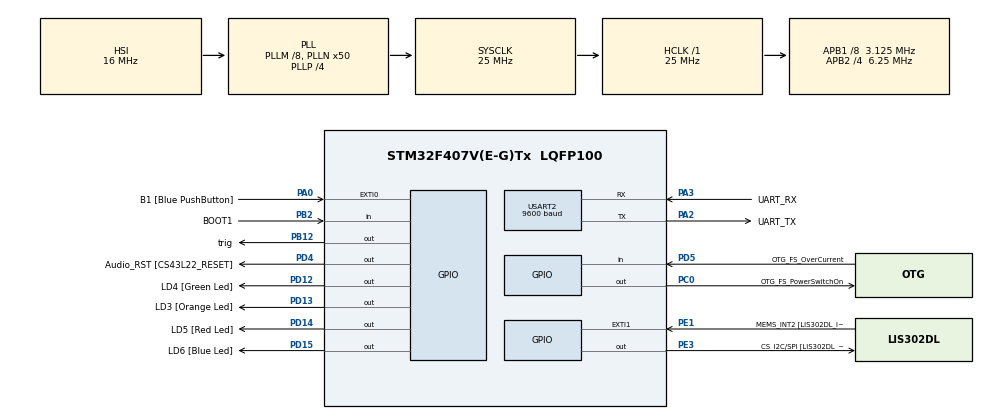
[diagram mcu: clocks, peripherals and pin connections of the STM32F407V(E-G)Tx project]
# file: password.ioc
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Mcu.Family=STM32F4
Mcu.Name=STM32F407V(E-G)Tx
Mcu.Package=LQFP100
NVIC.PriorityGroup=NVIC_PRIORITYGROUP_0
NVIC.TIM3_IRQn=true\:0\:0\:false\:false\:true
NVIC.USART2_IRQn=true\:0\:0\:false\:false\:true
PA0-WKUP.GPIO_Label=B1 [Blue PushButton]
PA0-WKUP.GPIO_ModeDefaultEXTI=GPIO_MODE_EVT_RISING
PA0-WKUP.GPIO_PuPd=GPIO_NOPULL
PA0-WKUP.Signal=GPXTI0
PA10.GPIO_Label=OTG_FS_ID
PA10.GPIO_Mode=GPIO_MODE_AF_PP
PA10.GPIO_PuPd=GPIO_NOPULL
PA10.GPIO_Speed=GPIO_SPEED_FREQ_LOW
PA10.Signal=USB_OTG_FS_ID
PA11.GPIO_Label=OTG_FS_DM
PA11.GPIO_Mode=GPIO_MODE_AF_PP
PA11.GPIO_PuPd=GPIO_NOPULL
PA11.GPIO_Speed=GPIO_SPEED_FREQ_LOW
PA11.Signal=USB_OTG_FS_DM
PA12.GPIO_Label=OTG_FS_DP
PA12.GPIO_Mode=GPIO_MODE_AF_PP
PA12.GPIO_PuPd=GPIO_NOPULL
PA12.GPIO_Speed=GPIO_SPEED_FREQ_LOW
PA12.Signal=USB_OTG_FS_DP
PA13.GPIO_Label=SWDIO
PA13.Signal=SYS_JTMS-SWDIO
PA14.GPIO_Label=SWCLK
PA14.Signal=SYS_JTCK-SWCLK
PA2.GPIO_Label=UART_TX
PA2.Mode=Asynchronous
PA2.Signal=USART2_TX
PA3.GPIO_Label=UART_RX
PA3.Mode=Asynchronous
PA3.Signal=USART2_RX
PA4.GPIO_Label=I2S3_WS [CS43L22_LRCK]
PA4.GPIO_Mode=GPIO_MODE_AF_PP
PA4.GPIO_PuPd=GPIO_NOPULL
PA4.GPIO_Speed=GPIO_SPEED_FREQ_LOW
PA4.Signal=I2S3_WS
PA5.GPIO_Label=SPI1_SCK [LIS302DL_SCL/SPC]
PA5.GPIO_Mode=GPIO_MODE_AF_PP
PA5.GPIO_PuPd=GPIO_NOPULL
PA5.GPIO_Speed=GPIO_SPEED_FREQ_LOW
PA5.Signal=SPI1_SCK
PA6.GPIO_Label=SPI1_MISO [LIS302DL_SDO]
PA6.GPIO_Mode=GPIO_MODE_AF_PP
PA6.GPIO_PuPd=GPIO_NOPULL
PA6.GPIO_Speed=GPIO_SPEED_FREQ_LOW
PA6.Signal=SPI1_MISO
PA7.GPIO_Label=SPI1_MOSI [LIS302DL_SDA/SDI/SDO]
PA7.GPIO_Mode=GPIO_MODE_AF_PP
PA7.GPIO_PuPd=GPIO_NOPULL
PA7.GPIO_Speed=GPIO_SPEED_FREQ_LOW
PA7.Signal=SPI1_MOSI
PA9.GPIO_Label=VBUS_FS
PA9.GPIO_Mode=GPIO_MODE_INPUT
PA9.GPIO_PuPd=GPIO_NOPULL
PA9.Signal=USB_OTG_FS_VBUS
PB10.GPIO_Label=CLK_IN [MP45DT02_CLK]
PB10.GPIO_Mode=GPIO_MODE_AF_PP
PB10.GPIO_PuPd=GPIO_NOPULL
PB10.GPIO_Speed=GPIO_SPEED_FREQ_LOW
PB10.Signal=I2S2_CK
PB12.GPIO_Label=trig
PB12.Signal=GPIO_Output
PB2.GPIO_Label=BOOT1
PB2.GPIO_Mode=GPIO_MODE_INPUT
PB2.GPIO_PuPd=GPIO_NOPULL
PB2.Signal=GPIO_Input
PB3.GPIO_Label=SWO
PB3.Signal=SYS_JTDO-SWO
PB6.GPIO_Label=Audio_SCL [CS43L22_SCL]
PB6.GPIO_Mode=GPIO_MODE_AF_OD
PB6.GPIO_PuPd=GPIO_NOPULL
PB6.GPIO_Speed=GPIO_SPEED_FREQ_LOW
PB6.Signal=I2C1_SCL
PB9.GPIO_Label=Audio_SDA [CS43L22_SDA]
PB9.GPIO_Mode=GPIO_MODE_AF_OD
PB9.GPIO_PuPd=GPIO_NOPULL
PB9.GPIO_Speed=GPIO_SPEED_FREQ_LOW
PB9.Signal=I2C1_SDA
PC0.GPIO_Label=OTG_FS_PowerSwitchOn
PC0.GPIO_PuPd=GPIO_NOPULL
PC0.GPIO_Speed=GPIO_SPEED_FREQ_LOW
PC0.PinState=GPIO_PIN_SET
PC0.Signal=GPIO_Output
PC10.GPIO_Label=I2S3_SCK [CS43L22_SCLK]
PC10.GPIO_Mode=GPIO_MODE_AF_PP
PC10.GPIO_PuPd=GPIO_NOPULL
PC10.GPIO_Speed=GPIO_SPEED_FREQ_LOW
PC10.Signal=I2S3_CK
PC12.GPIO_Label=I2S3_SD [CS43L22_SDIN]
PC12.GPIO_Mode=GPIO_MODE_AF_PP
PC12.GPIO_PuPd=GPIO_NOPULL
PC12.GPIO_Speed=GPIO_SPEED_FREQ_LOW
PC12.Signal=I2S3_SD
PC14-OSC32_IN.GPIO_Label=PC14-OSC32_IN
PC14-OSC32_IN.Signal=RCC_OSC32_IN
PC15-OSC32_OUT.GPIO_Label=PC15-OSC32_OUT
PC15-OSC32_OUT.Signal=RCC_OSC32_OUT
PC3.GPIO_Label=PDM_OUT [MP45DT02_DOUT]
PC3.GPIO_Mode=GPIO_MODE_AF_PP
PC3.GPIO_PuPd=GPIO_NOPULL
PC3.GPIO_Speed=GPIO_SPEED_FREQ_LOW
PC3.Signal=I2S2_SD
PC7.GPIO_Label=I2S3_MCK [CS43L22_MCLK]
PC7.GPIO_Mode=GPIO_MODE_AF_PP
PC7.GPIO_PuPd=GPIO_NOPULL
PC7.GPIO_Speed=GPIO_SPEED_FREQ_LOW
PC7.Signal=I2S3_MCK
PD12.GPIO_Label=LD4 [Green Led]
PD12.GPIO_PuPd=GPIO_NOPULL
PD12.GPIO_Speed=GPIO_SPEED_FREQ_LOW
PD12.Signal=GPIO_Output
PD13.GPIO_Label=LD3 [Orange Led]
PD13.GPIO_PuPd=GPIO_NOPULL
PD13.GPIO_Speed=GPIO_SPEED_FREQ_LOW
PD13.Signal=GPIO_Output
PD14.GPIO_Label=LD5 [Red Led]
PD14.GPIO_PuPd=GPIO_NOPULL
PD14.GPIO_Speed=GPIO_SPEED_FREQ_LOW
PD14.Signal=GPIO_Output
PD15.GPIO_Label=LD6 [Blue Led]
PD15.GPIO_PuPd=GPIO_NOPULL
PD15.GPIO_Speed=GPIO_SPEED_FREQ_LOW
PD15.Signal=GPIO_Output
PD4.GPIO_Label=Audio_RST [CS43L22_RESET]
PD4.GPIO_PuPd=GPIO_NOPULL
PD4.GPIO_Speed=GPIO_SPEED_FREQ_LOW
PD4.Signal=GPIO_Output
PD5.GPIO_Label=OTG_FS_OverCurrent
PD5.GPIO_Mode=GPIO_MODE_INPUT
PD5.GPIO_PuPd=GPIO_NOPULL
PD5.Signal=GPIO_Input
PE1.GPIO_Label=MEMS_INT2 [LIS302DL_INT2]
PE1.GPIO_ModeDefaultEXTI=GPIO_MODE_EVT_RISING
PE1.GPIO_PuPd=GPIO_NOPULL
PE1.Signal=GPXTI1
PE3.GPIO_Label=CS_I2C/SPI [LIS302DL_CS_I2C/SPI]
PE3.GPIO_PuPd=GPIO_NOPULL
PE3.GPIO_Speed=GPIO_SPEED_FREQ_LOW
PE3.Signal=GPIO_Output
PH0-OSC_IN.GPIO_Label=PH0-OSC_IN
PH0-OSC_IN.Signal=RCC_OSC_IN
PH1-OSC_OUT.GPIO_Label=PH1-OSC_OUT
PH1-OSC_OUT.Signal=RCC_OSC_OUT
ProjectManager.HeapSize=0x200
ProjectManager.StackSize=0x400
ProjectManager.TargetToolchain=SW4STM32
RCC.48MHZClocksFreq_Value=14285714.285714285
RCC.AHBFreq_Value=25000000
RCC.APB1CLKDivider=RCC_HCLK_DIV8
RCC.APB1Freq_Value=3125000
RCC.APB1TimFreq_Value=6250000
RCC.APB2CLKDivider=RCC_HCLK_DIV4
RCC.APB2Freq_Value=6250000
RCC.APB2TimFreq_Value=12500000
RCC.CortexFreq_Value=25000000
RCC.HCLKFreq_Value=25000000
RCC.HSE_VALUE=8000000
RCC.HSI_VALUE=16000000
RCC.LSE_VALUE=32768
RCC.PLLM=8
RCC.PLLN=50
RCC.PLLP=RCC_PLLP_DIV4
RCC.PLLQ=7
RCC.SYSCLKFreq_VALUE=25000000
RCC.SYSCLKSource=RCC_SYSCLKSOURCE_PLLCLK
RCC.VCOOutputFreq_Value=100000000
TIM3.Period=499
TIM3.Prescaler=15999
USART2.BaudRate=9600
USART2.VirtualMode=VM_ASYNC
VP_TIM3_VS_ClockSourceINT.Mode=Internal
board=STM32F4DISCOVERY

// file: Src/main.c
/**
  ******************************************************************************
  * File Name          : main.c
  * Description        : Main program body
  ******************************************************************************
  ** This notice applies to any and all portions of this file
  * that are not between comment pairs USER CODE BEGIN and
  * USER CODE END. Other portions of this file, whether
  * inserted by the user or by software development tools
  * are owned by their respective copyright owners.
  *
  * COPYRIGHT(c) 2017 STMicroelectronics
  *
  * Redistribution and use in source and binary forms, with or without modification,
  * are permitted provided that the following conditions are met:
  *   1. Redistributions of source code must retain the above copyright notice,
  *      this list of conditions and the following disclaimer.
  *   2. Redistributions in binary form must reproduce the above copyright notice,
  *      this list of conditions and the following disclaimer in the documentation
  *      and/or other materials provided with the distribution.
  *   3. Neither the name of STMicroelectronics nor the names of its contributors
  *      may be used to endorse or promote products derived from this software
  *      without specific prior written permission.
  *
  * THIS SOFTWARE IS PROVIDED BY THE COPYRIGHT HOLDERS AND CONTRIBUTORS "AS IS"
  * AND ANY EXPRESS OR IMPLIED WARRANTIES, INCLUDING, BUT NOT LIMITED TO, THE
  * IMPLIED WARRANTIES OF MERCHANTABILITY AND FITNESS FOR A PARTICULAR PURPOSE ARE
  * DISCLAIMED. IN NO EVENT SHALL THE COPYRIGHT HOLDER OR CONTRIBUTORS BE LIABLE
  * FOR ANY DIRECT, INDIRECT, INCIDENTAL, SPECIAL, EXEMPLARY, OR CONSEQUENTIAL
  * DAMAGES (INCLUDING, BUT NOT LIMITED TO, PROCUREMENT OF SUBSTITUTE GOODS OR
  * SERVICES; LOSS OF USE, DATA, OR PROFITS; OR BUSINESS INTERRUPTION) HOWEVER
  * CAUSED AND ON ANY THEORY OF LIABILITY, WHETHER IN CONTRACT, STRICT LIABILITY,
  * OR TORT (INCLUDING NEGLIGENCE OR OTHERWISE) ARISING IN ANY WAY OUT OF THE USE
  * OF THIS SOFTWARE, EVEN IF ADVISED OF THE POSSIBILITY OF SUCH DAMAGE.
  *
  ******************************************************************************
  */
#include "main.h"
#include "stm32f4xx_hal.h"

TIM_HandleTypeDef htim3;

UART_HandleTypeDef huart2;

/* USER CODE BEGIN PV */
/* Private variables ---------------------------------------------------------*/
unsigned char msg0[] = "\n\n\r***** Perk-Widget Booting *****\n\r";
unsigned char msg1[] = "Copyright (C) 2010-2017 Perktron Corporation\n\r";
unsigned char msg2[] = "iSCSI Boot v4.2.10\n\r";
unsigned char msg3[] = "Acquiring parameters for interface (68:E9:34) ... ";
unsigned char msg4[] = "Succeeded\n\r";
unsigned char msg5[] = "Initializing interface (68:E9:34) ... ";
unsigned char msg6[] = "Succeeded\n\r";
unsigned char msg7[] = "Connecting to iSCSI targets with interface (68:E9:34) ... ";
unsigned char msg8[] = "Succeeded\n\r";
unsigned char msg9[] = "iSCSI trace started (REV: 9000)\n\n\n\r";
unsigned char prompt[] = "Enter password: ";
unsigned char errorMsg[] = "\n\n\rWrong password ACCESS DENIED\n\r";
unsigned char correctMsg[] = "\n\n\rCorrect password ACCESS GRANTED\n\r";
uint8_t rxBuf[1];
unsigned char rxString[100];
uint8_t charCount = 0;
unsigned char correctPasswd [] = "@d@M15g8T";
/* USER CODE END PV */

void SystemClock_Config(void);
static void MX_GPIO_Init(void);
static void MX_USART2_UART_Init(void);
static void MX_TIM3_Init(void);

/* USER CODE BEGIN PFP */
/* Private function prototypes -----------------------------------------------*/

/* USER CODE END PFP */

int main(void)
{

  /* MCU Configuration----------------------------------------------------------*/

  /* Reset of all peripherals, Initializes the Flash interface and the Systick. */
  HAL_Init();

  /* Configure the system clock */
  SystemClock_Config();

  /* Initialize all configured peripherals */
  MX_GPIO_Init();
  MX_USART2_UART_Init();
  MX_TIM3_Init();

  /* USER CODE BEGIN 2 */
  HAL_TIM_Base_Start_IT(&htim3);

  // Send start message
  HAL_GPIO_WritePin(LD5_GPIO_Port, LD5_Pin, GPIO_PIN_RESET);
  HAL_GPIO_WritePin(LD4_GPIO_Port, LD4_Pin, GPIO_PIN_RESET);
  HAL_GPIO_WritePin(trig_GPIO_Port, trig_Pin, GPIO_PIN_RESET);
  HAL_UART_Transmit_IT(&huart2, msg0, sizeof(msg0)/sizeof(msg0[0]));
  HAL_Delay(800);
  HAL_UART_Transmit_IT(&huart2, msg1, sizeof(msg1)/sizeof(msg1[0]));
  HAL_Delay(200);
  HAL_UART_Transmit_IT(&huart2, msg2, sizeof(msg2)/sizeof(msg2[0]));
  HAL_Delay(200);
  HAL_UART_Transmit_IT(&huart2, msg3, sizeof(msg3)/sizeof(msg3[0]));
  HAL_Delay(400);
  HAL_UART_Transmit_IT(&huart2, msg4, sizeof(msg4)/sizeof(msg4[0]));
  HAL_Delay(200);
  HAL_UART_Transmit_IT(&huart2, msg5, sizeof(msg5)/sizeof(msg5[0]));
  HAL_Delay(400);
  HAL_UART_Transmit_IT(&huart2, msg6, sizeof(msg6)/sizeof(msg6[0]));
  HAL_Delay(200);
  HAL_UART_Transmit_IT(&huart2, msg7, sizeof(msg7)/sizeof(msg7[0]));
  HAL_Delay(400);
  HAL_UART_Transmit_IT(&huart2, msg8, sizeof(msg8)/sizeof(msg8[0]));
  HAL_Delay(200);
  HAL_UART_Transmit_IT(&huart2, msg9, sizeof(msg9)/sizeof(msg9[0]));
  HAL_Delay(600);
  HAL_UART_Transmit_IT(&huart2, prompt, sizeof(prompt)/sizeof(prompt[0]));
  /* USER CODE END 2 */

  /* Infinite loop */
  while (1)
  {

  /* USER CODE BEGIN 3 */
	HAL_UART_Receive_IT(&huart2, rxBuf, 1);
	if(rxBuf[0] != 0) {
	  if(rxBuf[0] == 13){
		HAL_GPIO_WritePin(trig_GPIO_Port, trig_Pin, GPIO_PIN_SET);
		HAL_Delay(10);
		HAL_GPIO_WritePin(trig_GPIO_Port, trig_Pin, GPIO_PIN_RESET);
		for(uint8_t i=0; i<charCount; i++) {
		  if(rxString[i] != correctPasswd[i]) {
			HAL_Delay(500);
			HAL_UART_Transmit_IT(&huart2, errorMsg, sizeof(errorMsg)/sizeof(errorMsg[0]));
			HAL_GPIO_WritePin(LD5_GPIO_Port, LD5_Pin, GPIO_PIN_SET);
			while(1);
		  }
		  else {
			HAL_UART_Transmit_IT(&huart2, correctMsg, sizeof(correctMsg)/sizeof(correctMsg[0]));
			while(1) {
			  HAL_GPIO_TogglePin(LD4_GPIO_Port, LD4_Pin);
			  HAL_Delay(250);
			}
		  }
		}
		charCount = 0;
	  }
	  else {
		HAL_UART_Transmit_IT(&huart2, rxBuf, sizeof(rxBuf)/sizeof(rxBuf[0]));
		rxString[charCount] = rxBuf[0];
		charCount++;
	  }
	  rxBuf[0] = 0;
	}
  }
  /* USER CODE END 3 */

}

/** System Clock Configuration
*/
void SystemClock_Config(void)
{

  RCC_OscInitTypeDef RCC_OscInitStruct;
  RCC_ClkInitTypeDef RCC_ClkInitStruct;

    /**Configure the main internal regulator output voltage
    */
  __HAL_RCC_PWR_CLK_ENABLE();

  __HAL_PWR_VOLTAGESCALING_CONFIG(PWR_REGULATOR_VOLTAGE_SCALE1);

    /**Initializes the CPU, AHB and APB busses clocks
    */
  RCC_OscInitStruct.OscillatorType = RCC_OSCILLATORTYPE_HSI;
  RCC_OscInitStruct.HSIState = RCC_HSI_ON;
  RCC_OscInitStruct.HSICalibrationValue = 16;
  RCC_OscInitStruct.PLL.PLLState = RCC_PLL_ON;
  RCC_OscInitStruct.PLL.PLLSource = RCC_PLLSOURCE_HSI;
  RCC_OscInitStruct.PLL.PLLM = 8;
  RCC_OscInitStruct.PLL.PLLN = 50;
  RCC_OscInitStruct.PLL.PLLP = RCC_PLLP_DIV4;
  RCC_OscInitStruct.PLL.PLLQ = 7;
  if (HAL_RCC_OscConfig(&RCC_OscInitStruct) != HAL_OK)
  {
    _Error_Handler(__FILE__, __LINE__);
  }

    /**Initializes the CPU, AHB and APB busses clocks
    */
  RCC_ClkInitStruct.ClockType = RCC_CLOCKTYPE_HCLK|RCC_CLOCKTYPE_SYSCLK
                              |RCC_CLOCKTYPE_PCLK1|RCC_CLOCKTYPE_PCLK2;
  RCC_ClkInitStruct.SYSCLKSource = RCC_SYSCLKSOURCE_PLLCLK;
  RCC_ClkInitStruct.AHBCLKDivider = RCC_SYSCLK_DIV1;
  RCC_ClkInitStruct.APB1CLKDivider = RCC_HCLK_DIV8;
  RCC_ClkInitStruct.APB2CLKDivider = RCC_HCLK_DIV4;

  if (HAL_RCC_ClockConfig(&RCC_ClkInitStruct, FLASH_LATENCY_0) != HAL_OK)
  {
    _Error_Handler(__FILE__, __LINE__);
  }

    /**Configure the Systick interrupt time
    */
  HAL_SYSTICK_Config(HAL_RCC_GetHCLKFreq()/1000);

    /**Configure the Systick
    */
  HAL_SYSTICK_CLKSourceConfig(SYSTICK_CLKSOURCE_HCLK);

  /* SysTick_IRQn interrupt configuration */
  HAL_NVIC_SetPriority(SysTick_IRQn, 0, 0);
}

/* TIM3 init function */
static void MX_TIM3_Init(void)
{

  TIM_ClockConfigTypeDef sClockSourceConfig;
  TIM_MasterConfigTypeDef sMasterConfig;

  htim3.Instance = TIM3;
  htim3.Init.Prescaler = 15999;
  htim3.Init.CounterMode = TIM_COUNTERMODE_UP;
  htim3.Init.Period = 499;
  htim3.Init.ClockDivision = TIM_CLOCKDIVISION_DIV1;
  if (HAL_TIM_Base_Init(&htim3) != HAL_OK)
  {
    _Error_Handler(__FILE__, __LINE__);
  }

  sClockSourceConfig.ClockSource = TIM_CLOCKSOURCE_INTERNAL;
  if (HAL_TIM_ConfigClockSource(&htim3, &sClockSourceConfig) != HAL_OK)
  {
    _Error_Handler(__FILE__, __LINE__);
  }

  sMasterConfig.MasterOutputTrigger = TIM_TRGO_RESET;
  sMasterConfig.MasterSlaveMode = TIM_MASTERSLAVEMODE_DISABLE;
  if (HAL_TIMEx_MasterConfigSynchronization(&htim3, &sMasterConfig) != HAL_OK)
  {
    _Error_Handler(__FILE__, __LINE__);
  }

}

/* USART2 init function */
static void MX_USART2_UART_Init(void)
{

  huart2.Instance = USART2;
  huart2.Init.BaudRate = 9600;
  huart2.Init.WordLength = UART_WORDLENGTH_8B;
  huart2.Init.StopBits = UART_STOPBITS_1;
  huart2.Init.Parity = UART_PARITY_NONE;
  huart2.Init.Mode = UART_MODE_TX_RX;
  huart2.Init.HwFlowCtl = UART_HWCONTROL_NONE;
  huart2.Init.OverSampling = UART_OVERSAMPLING_16;
  if (HAL_UART_Init(&huart2) != HAL_OK)
  {
    _Error_Handler(__FILE__, __LINE__);
  }

}

/** Configure pins as
        * Analog
        * Input
        * Output
        * EVENT_OUT
        * EXTI
     PC3   ------> I2S2_SD
     PA4   ------> I2S3_WS
     PA5   ------> SPI1_SCK
     PA6   ------> SPI1_MISO
     PA7   ------> SPI1_MOSI
     PB10   ------> I2S2_CK
     PC7   ------> I2S3_MCK
     PA9   ------> USB_OTG_FS_VBUS
     PA10   ------> USB_OTG_FS_ID
     PA11   ------> USB_OTG_FS_DM
     PA12   ------> USB_OTG_FS_DP
     PC10   ------> I2S3_CK
     PC12   ------> I2S3_SD
     PB6   ------> I2C1_SCL
     PB9   ------> I2C1_SDA
*/
static void MX_GPIO_Init(void)
{

  GPIO_InitTypeDef GPIO_InitStruct;

  /* GPIO Ports Clock Enable */
  __HAL_RCC_GPIOE_CLK_ENABLE();
  __HAL_RCC_GPIOC_CLK_ENABLE();
  __HAL_RCC_GPIOH_CLK_ENABLE();
  __HAL_RCC_GPIOA_CLK_ENABLE();
  __HAL_RCC_GPIOB_CLK_ENABLE();
  __HAL_RCC_GPIOD_CLK_ENABLE();

  /*Configure GPIO pin Output Level */
  HAL_GPIO_WritePin(CS_I2C_SPI_GPIO_Port, CS_I2C_SPI_Pin, GPIO_PIN_RESET);

  /*Configure GPIO pin Output Level */
  HAL_GPIO_WritePin(OTG_FS_PowerSwitchOn_GPIO_Port, OTG_FS_PowerSwitchOn_Pin, GPIO_PIN_SET);

  /*Configure GPIO pin Output Level */
  HAL_GPIO_WritePin(trig_GPIO_Port, trig_Pin, GPIO_PIN_RESET);

  /*Configure GPIO pin Output Level */
  HAL_GPIO_WritePin(GPIOD, LD4_Pin|LD3_Pin|LD5_Pin|LD6_Pin
                          |Audio_RST_Pin, GPIO_PIN_RESET);

  /*Configure GPIO pin : CS_I2C_SPI_Pin */
  GPIO_InitStruct.Pin = CS_I2C_SPI_Pin;
  GPIO_InitStruct.Mode = GPIO_MODE_OUTPUT_PP;
  GPIO_InitStruct.Pull = GPIO_NOPULL;
  GPIO_InitStruct.Speed = GPIO_SPEED_FREQ_LOW;
  HAL_GPIO_Init(CS_I2C_SPI_GPIO_Port, &GPIO_InitStruct);

  /*Configure GPIO pin : OTG_FS_PowerSwitchOn_Pin */
  GPIO_InitStruct.Pin = OTG_FS_PowerSwitchOn_Pin;
  GPIO_InitStruct.Mode = GPIO_MODE_OUTPUT_PP;
  GPIO_InitStruct.Pull = GPIO_NOPULL;
  GPIO_InitStruct.Speed = GPIO_SPEED_FREQ_LOW;
  HAL_GPIO_Init(OTG_FS_PowerSwitchOn_GPIO_Port, &GPIO_InitStruct);

  /*Configure GPIO pin : PDM_OUT_Pin */
  GPIO_InitStruct.Pin = PDM_OUT_Pin;
  GPIO_InitStruct.Mode = GPIO_MODE_AF_PP;
  GPIO_InitStruct.Pull = GPIO_NOPULL;
  GPIO_InitStruct.Speed = GPIO_SPEED_FREQ_LOW;
  GPIO_InitStruct.Alternate = GPIO_AF5_SPI2;
  HAL_GPIO_Init(PDM_OUT_GPIO_Port, &GPIO_InitStruct);

  /*Configure GPIO pin : B1_Pin */
  GPIO_InitStruct.Pin = B1_Pin;
  GPIO_InitStruct.Mode = GPIO_MODE_EVT_RISING;
  GPIO_InitStruct.Pull = GPIO_NOPULL;
  HAL_GPIO_Init(B1_GPIO_Port, &GPIO_InitStruct);

  /*Configure GPIO pin : I2S3_WS_Pin */
  GPIO_InitStruct.Pin = I2S3_WS_Pin;
  GPIO_InitStruct.Mode = GPIO_MODE_AF_PP;
  GPIO_InitStruct.Pull = GPIO_NOPULL;
  GPIO_InitStruct.Speed = GPIO_SPEED_FREQ_LOW;
  GPIO_InitStruct.Alternate = GPIO_AF6_SPI3;
  HAL_GPIO_Init(I2S3_WS_GPIO_Port, &GPIO_InitStruct);

  /*Configure GPIO pins : SPI1_SCK_Pin SPI1_MISO_Pin SPI1_MOSI_Pin */
  GPIO_InitStruct.Pin = SPI1_SCK_Pin|SPI1_MISO_Pin|SPI1_MOSI_Pin;
  GPIO_InitStruct.Mode = GPIO_MODE_AF_PP;
  GPIO_InitStruct.Pull = GPIO_NOPULL;
  GPIO_InitStruct.Speed = GPIO_SPEED_FREQ_LOW;
  GPIO_InitStruct.Alternate = GPIO_AF5_SPI1;
  HAL_GPIO_Init(GPIOA, &GPIO_InitStruct);

  /*Configure GPIO pin : BOOT1_Pin */
  GPIO_InitStruct.Pin = BOOT1_Pin;
  GPIO_InitStruct.Mode = GPIO_MODE_INPUT;
  GPIO_InitStruct.Pull = GPIO_NOPULL;
  HAL_GPIO_Init(BOOT1_GPIO_Port, &GPIO_InitStruct);

  /*Configure GPIO pin : CLK_IN_Pin */
  GPIO_InitStruct.Pin = CLK_IN_Pin;
  GPIO_InitStruct.Mode = GPIO_MODE_AF_PP;
  GPIO_InitStruct.Pull = GPIO_NOPULL;
  GPIO_InitStruct.Speed = GPIO_SPEED_FREQ_LOW;
  GPIO_InitStruct.Alternate = GPIO_AF5_SPI2;
  HAL_GPIO_Init(CLK_IN_GPIO_Port, &GPIO_InitStruct);

  /*Configure GPIO pin : trig_Pin */
  GPIO_InitStruct.Pin = trig_Pin;
  GPIO_InitStruct.Mode = GPIO_MODE_OUTPUT_PP;
  GPIO_InitStruct.Pull = GPIO_NOPULL;
  GPIO_InitStruct.Speed = GPIO_SPEED_FREQ_LOW;
  HAL_GPIO_Init(trig_GPIO_Port, &GPIO_InitStruct);

  /*Configure GPIO pins : LD4_Pin LD3_Pin LD5_Pin LD6_Pin
                           Audio_RST_Pin */
  GPIO_InitStruct.Pin = LD4_Pin|LD3_Pin|LD5_Pin|LD6_Pin
                          |Audio_RST_Pin;
  GPIO_InitStruct.Mode = GPIO_MODE_OUTPUT_PP;
  GPIO_InitStruct.Pull = GPIO_NOPULL;
  GPIO_InitStruct.Speed = GPIO_SPEED_FREQ_LOW;
  HAL_GPIO_Init(GPIOD, &GPIO_InitStruct);

  /*Configure GPIO pins : I2S3_MCK_Pin I2S3_SCK_Pin I2S3_SD_Pin */
  GPIO_InitStruct.Pin = I2S3_MCK_Pin|I2S3_SCK_Pin|I2S3_SD_Pin;
  GPIO_InitStruct.Mode = GPIO_MODE_AF_PP;
  GPIO_InitStruct.Pull = GPIO_NOPULL;
  GPIO_InitStruct.Speed = GPIO_SPEED_FREQ_LOW;
  GPIO_InitStruct.Alternate = GPIO_AF6_SPI3;
  HAL_GPIO_Init(GPIOC, &GPIO_InitStruct);

  /*Configure GPIO pin : VBUS_FS_Pin */
  GPIO_InitStruct.Pin = VBUS_FS_Pin;
  GPIO_InitStruct.Mode = GPIO_MODE_INPUT;
  GPIO_InitStruct.Pull = GPIO_NOPULL;
  HAL_GPIO_Init(VBUS_FS_GPIO_Port, &GPIO_InitStruct);

  /*Configure GPIO pins : OTG_FS_ID_Pin OTG_FS_DM_Pin OTG_FS_DP_Pin */
  GPIO_InitStruct.Pin = OTG_FS_ID_Pin|OTG_FS_DM_Pin|OTG_FS_DP_Pin;
  GPIO_InitStruct.Mode = GPIO_MODE_AF_PP;
  GPIO_InitStruct.Pull = GPIO_NOPULL;
  GPIO_InitStruct.Speed = GPIO_SPEED_FREQ_LOW;
  GPIO_InitStruct.Alternate = GPIO_AF10_OTG_FS;
  HAL_GPIO_Init(GPIOA, &GPIO_InitStruct);

  /*Configure GPIO pin : OTG_FS_OverCurrent_Pin */
  GPIO_InitStruct.Pin = OTG_FS_OverCurrent_Pin;
  GPIO_InitStruct.Mode = GPIO_MODE_INPUT;
  GPIO_InitStruct.Pull = GPIO_NOPULL;
  HAL_GPIO_Init(OTG_FS_OverCurrent_GPIO_Port, &GPIO_InitStruct);

  /*Configure GPIO pins : Audio_SCL_Pin Audio_SDA_Pin */
  GPIO_InitStruct.Pin = Audio_SCL_Pin|Audio_SDA_Pin;
  GPIO_InitStruct.Mode = GPIO_MODE_AF_OD;
  GPIO_InitStruct.Pull = GPIO_PULLUP;
  GPIO_InitStruct.Speed = GPIO_SPEED_FREQ_LOW;
  GPIO_InitStruct.Alternate = GPIO_AF4_I2C1;
  HAL_GPIO_Init(GPIOB, &GPIO_InitStruct);

  /*Configure GPIO pin : MEMS_INT2_Pin */
  GPIO_InitStruct.Pin = MEMS_INT2_Pin;
  GPIO_InitStruct.Mode = GPIO_MODE_EVT_RISING;
  GPIO_InitStruct.Pull = GPIO_NOPULL;
  HAL_GPIO_Init(MEMS_INT2_GPIO_Port, &GPIO_InitStruct);

}

void _Error_Handler(char * file, int line)
{
  while(1)
  {
  }
}

/************************ (C) COPYRIGHT STMicroelectronics *****END OF FILE****/
